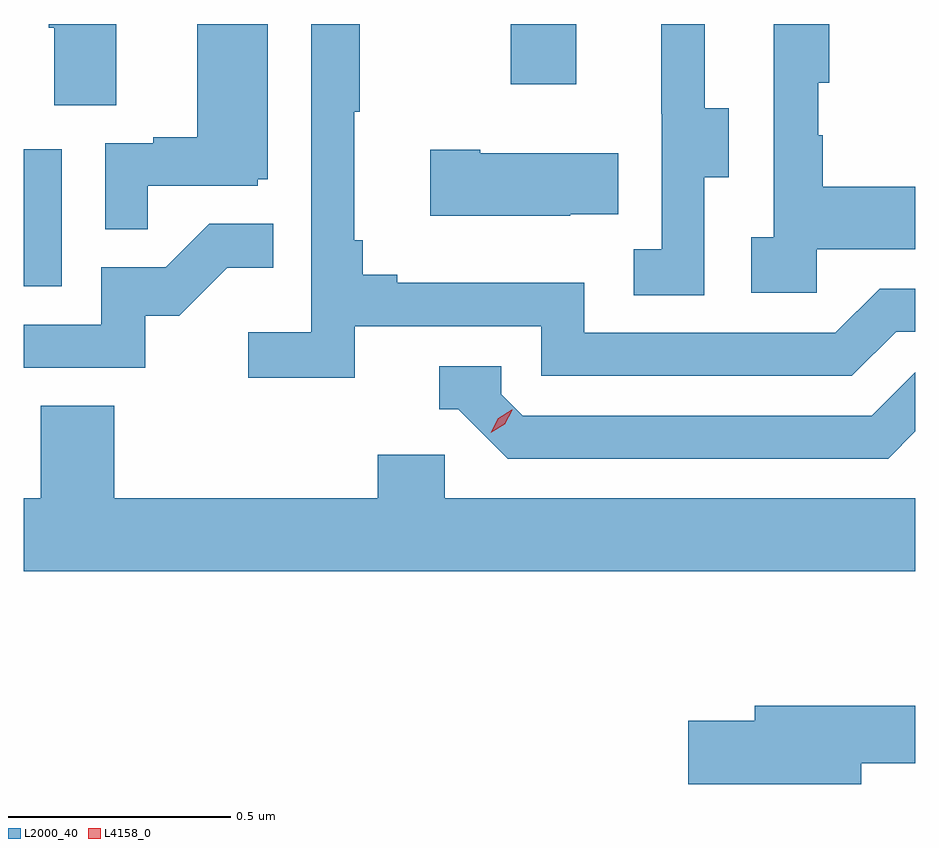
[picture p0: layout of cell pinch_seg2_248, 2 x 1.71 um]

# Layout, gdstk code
import gdstk
lib = gdstk.Library(unit=1e-6, precision=1e-09)
def R(c, l, rs):  # rectangles x0, y0, x1, y1
    for r in rs: c.add(gdstk.rectangle(r[:2], r[2:], *l))
def P(c, l, *ps):  # polygons
    for p in ps: c.add(gdstk.Polygon(p, *l))
L2000_40 = (2000, 40)
L4158_0 = (4158, 0)

pinch_seg2_248 = lib.new_cell('pinch_seg2_248')
R(pinch_seg2_248, L2000_40, [(896.445,650.94,896.53,651.247), (897.538,651.393,897.685,651.528)])
P(pinch_seg2_248, L2000_40, [(896.653,651.528),(896.501,651.528),(896.501,651.52),(896.513,651.52),(896.513,651.346),(896.653,651.346)],
  [(897.188,650.85),(897.606,650.85),(897.606,650.739),(898.303,650.739),(898.402,650.838),(898.445,650.838),(898.445,650.934),(898.365,650.934),(898.266,650.835),(897.702,650.835),(897.702,650.947),(897.283,650.947),(897.283,650.966),(897.206,650.966),(897.206,651.043),(897.187,651.043),(897.187,651.331),(897.199,651.331),(897.199,651.528),(897.09,651.528),(897.09,650.836),(896.949,650.836),(896.949,650.734),(897.188,650.734)],
  [(898.224,651.023),(898.445,651.023),(898.445,651.163),(898.237,651.163),(898.237,651.278),(898.227,651.278),(898.227,651.396),(898.252,651.396),(898.252,651.528),(898.128,651.528),(898.128,651.05),(898.077,651.05),(898.077,650.925),(898.224,650.925)],
  [(896.723,651.165),(896.97,651.165),(896.97,651.18),(896.992,651.18),(896.992,651.528),(896.834,651.528),(896.834,651.274),(896.735,651.274),(896.735,651.261),(896.628,651.261),(896.628,651.067),(896.723,651.067)],
  [(897.972,651.184),(898.027,651.184),(898.027,651.339),(897.973,651.339),(897.973,651.528),(897.875,651.528),(897.875,651.327),(897.876,651.327),(897.876,651.023),(897.813,651.023),(897.813,650.92),(897.972,650.92)],
  [(897.671,651.101),(897.779,651.101),(897.779,651.238),(897.469,651.238),(897.469,651.246),(897.357,651.246),(897.357,651.098),(897.671,651.098)],
  [(896.718,650.874),(896.794,650.874),(896.901,650.981),(897.005,650.981),(897.005,651.08),(896.861,651.08),(896.763,650.982),(896.619,650.982),(896.619,650.853),(896.445,650.853),(896.445,650.757),(896.718,650.757)],
  [(898.445,650.614),(898.445,650.747),(898.347,650.649),(897.564,650.649),(897.516,650.697),(897.516,650.76),(897.377,650.76),(897.377,650.664),(897.42,650.664),(897.531,650.553),(898.384,650.553)],
  [(898.445,650.464),(897.39,650.464),(897.39,650.562),(897.239,650.562),(897.239,650.464),(896.648,650.464),(896.648,650.672),(896.483,650.672),(896.483,650.464),(896.445,650.464),(896.445,650.3),(898.445,650.3)],
  [(898.324,649.87),(898.445,649.87),(898.445,649.999),(898.085,649.999),(898.085,649.965),(897.936,649.965),(897.936,649.823),(898.324,649.823)])
P(pinch_seg2_248, L4158_0, [(897.493,650.611),(897.493,650.611),(897.509,650.643),(897.54,650.663),(897.541,650.663),(897.541,650.662),(897.524,650.63),(897.493,650.611)])

lib.write_gds('pinch_seg2_248.gds')
